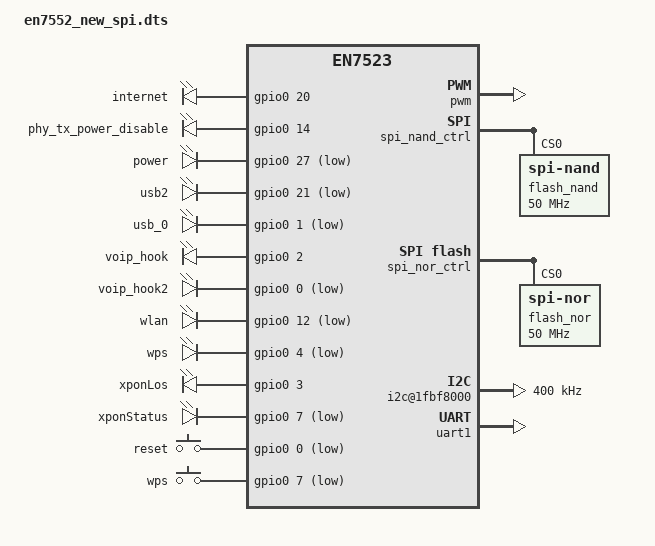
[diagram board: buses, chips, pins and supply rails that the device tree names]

#include <dt-bindings/interrupt-controller/irq.h>
#include <dt-bindings/interrupt-controller/arm-gic.h>
#include <dt-bindings/gpio/gpio.h>
#include <dt-bindings/input/input.h>
#include <dt-bindings/thermal/thermal.h>

/dts-v1/;
#include "en7552_new_spi.dtsi"
/ {
	compatible = "econet,en7523", "airoha,en7523";
	#address-cells = <1>;
	#size-cells = <1>;

	gpio0: gpio@1fbf0200 {
		compatible = "airoha,airoha-gpio";
		gpio_base = <0>;
		reg = <0x1fbf0204 0x4>,
		      <0x1fbf0200 0x4>,
		      <0x1fbf0220 0x4>,
		      <0x1fbf0214 0x4>;
		gpio-controller;
		#gpio-cells = <2>;
	};

	gpio1: gpio@1fbf0270 {
		compatible = "airoha,airoha-gpio";
		gpio_base = <32>;
		reg = <0x1fbf0270 0x4>,
		      <0x1fbf0260 0x4>,
		      <0x1fbf0264 0x4>,
		      <0x1fbf0278 0x4>;
		gpio-controller;
		#gpio-cells = <2>;
	};
	
	pwm: pwm@1fbf0234{
		compatible = "airoha,airoha-pwm";
		reg = <0x1fbf0234 0x20>,
		      <0x1fbf0268 0x4>,
		      <0x1fbf0298 0x24>;
	};

	leds {
		compatible = "gpio-leds";

		internet {
			label = "internet";
			gpios = <&gpio0 20 GPIO_ACTIVE_HIGH>;
			linux,default-trigger = "timer";
		};
		phy_tx_power_disable {
			label = "phy_tx_power_disable";
			gpios = <&gpio0 14 GPIO_ACTIVE_HIGH>;
			linux,default-trigger = "timer";
		};
		power {
			label = "power";
			gpios = <&gpio0 27 GPIO_ACTIVE_LOW>;
			linux,default-trigger = "timer";
		};
		usb2 {
			label = "usb2";
			gpios = <&gpio0 21 GPIO_ACTIVE_LOW>;
			trigger-sources = <&xhci_hcd>;
			linux,default-trigger = "usbport";
		};
		usb_0 {
			label = "usb_0";
			gpios = <&gpio0 1 GPIO_ACTIVE_LOW>;
			linux,default-trigger = "usbport";
		};
		voip_hook {
			label = "voip_hook";
			gpios = <&gpio0 2 GPIO_ACTIVE_HIGH>;
			linux,default-trigger = "timer";
		};
		voip_hook2 {
			label = "voip_hook2";
			gpios = <&gpio0 0 GPIO_ACTIVE_LOW>;
			linux,default-trigger = "timer";
		};
		wlan {
			label = "wlan";
			gpios = <&gpio0 12 GPIO_ACTIVE_LOW>;
			linux,default-trigger = "timer";
		};
		wps {
			label = "wps";
			gpios = <&gpio0 4 GPIO_ACTIVE_LOW>;
			linux,default-trigger = "timer";
		};
		xponLos {
			label = "xponLos";
			gpios = <&gpio0 3 GPIO_ACTIVE_HIGH>;
			linux,default-trigger = "timer";
		};
		
		xponStatus {
			label = "xponStatus";
			gpios = <&gpio0 7 GPIO_ACTIVE_LOW>;
			linux,default-trigger = "timer";
		};
	};
	
	gpio-keys-polled {
		compatible = "gpio-keys-polled";
		poll-interval = <100>;
		
		reset {
			label = "reset";
			linux,code = <KEY_RESTART>;
			gpios = <&gpio0 0 GPIO_ACTIVE_LOW>;
		};
		
		wps {
			label = "wps";
			linux,code = <KEY_WPS_BUTTON>;
			gpios = <&gpio0 7 GPIO_ACTIVE_LOW>;
		};
	};

	partitions {
		compatible = "fixed-partitions";
		#address-cells = <1>;
		#size-cells = <1>;

		bootloader@0 {
			label = "bootloader";
			reg = <0x00000000 0x00080000>;
		};
		tclinux@80000 {
			label = "tclinux";
			reg = <0x00080000 0x02800000>;
		};
		tclinux_slave@2880000 {
			label = "tclinux_slave";
			reg = <0x02880000 0x02800000>;
		};		
		rootfs_data@5080000 {
			label = "rootfs_data";
			reg = <0x05080000 0x00800000>;
		};
		art@de80000 {
			label = "art";
			//art is located in flash end. if reg offset != ffffffff, it represents the actual offset
			//else offset = flash_logic_size-reg_size(drivers/mtd/maps/tc3162-flash.c)
			reg = <0xffffffff 0x00380000>;
		};
	};
	

	partition-nor@1fa10000 {
		compatible = "fixed-partitions";
		#address-cells = <1>;
		#size-cells = <1>;

		bootloader@0 {
			label = "bootloader";
			reg = <0x00000000 0x00080000>;
		};
		tclinux@80000 {
			label = "tclinux";
			reg = <0x00080000 0x1900000>;
		};
		rootfs_data@5080000 {
			label = "rootfs_data";
			reg = <0x1980000 0x400000>;
		};
	};

	spi_nand_ctrl: spi_nand@1fa10000 {
		compatible = "airoha,airoha-snand";
		reg = <0x1fa10000 0x140>,	//SPI Controller Base
			  <0x1fa11000 0x160>;	//NFI2SPI
		interrupts = <GIC_SPI 51 IRQ_TYPE_LEVEL_HIGH>;
		#address-cells = <1>;
		#size-cells = <0>;
		flash_nand: flash@0 {
			compatible = "spi-nand";
			reg = <0>;
			spi-max-frequency = <50000000>;
			spi-tx-bus-width = <1>;
			spi-rx-bus-width = <2>;
			airoha,bmt;
		
		};
	};


	spi_nor_ctrl: spi_nor@1fa10000 {
		compatible = "airoha,airoha-snor";
		reg = <0x1fa10000 0x140>,	//SPI Controller Base
			  <0x1fa11000 0x160>;	//NFI2SPI
		interrupts = <GIC_SPI 51 IRQ_TYPE_LEVEL_HIGH>;
		#address-cells = <1>;
		#size-cells = <0>;
		flash_nor: flash@1 {
			compatible = "jedec,spi-nor";
			reg = <0>;
			spi-max-frequency = <50000000>;
			spi-tx-bus-width = <1>;
			spi-rx-bus-width = <2>;
		
		};
	};




	i2c@1fbf8000 {
		compatible = "airoha,airoha-i2c";
		reg = <0x1fbf8000 0x65>;
		clock-frequency = <400000>;
	};

	airoha-trng@1faa1000 {
		compatible = "airoha,airoha-trng";
		reg = <0x1faa1000 0xc04>;
		interrupts = <GIC_SPI 35 IRQ_TYPE_LEVEL_HIGH>;
	};
	thermal-zones {
		cpu_thermal: cpu-thermal {
			polling-delay-passive = <200>;
			polling-delay = <1000>;
			thermal-sensors = <&thermal_phy 0>;
			trips {
				cpu_passive: cpu-passive {
					temperature = <105000>;
					hysteresis = <0>;
					type = "passive";
				};
			};
			cooling-maps {
				map0 {
					trip = <&cpu_passive>;
					cooling-device = <&cpu0 THERMAL_NO_LIMIT THERMAL_NO_LIMIT>,
							 <&cpu1 THERMAL_NO_LIMIT THERMAL_NO_LIMIT>;
				};
			};
		};
	};
	thermal_phy: thermal_phy@1efbd000 {
		#thermal-sensor-cells = <0>;
		compatible = "airoha,en7523-thermal_phy";		
		reg = <0x1efbd000 0x0fff>; //ptp_thermal_ctrl
		int_name = "ptp_therm";
	};
	uart1: serial@1fbf0000 {
		compatible = "ns8250";
		reg = <0x1fbf0000 0x30>;
		reg-io-width = <4>;
		reg-shift = <2>;
		interrupts = <GIC_SPI 18 IRQ_TYPE_LEVEL_HIGH>;
		clock-frequency = <1843200>;
		status = "okay";
	};
	crypto_eip93@1fb70000 {
		compatible = "airoha,airoha-eip93";
		reg = <0x1fb70000 0x804>;
		interrupts = <GIC_SPI 44 IRQ_TYPE_LEVEL_HIGH>;			
	};

};
